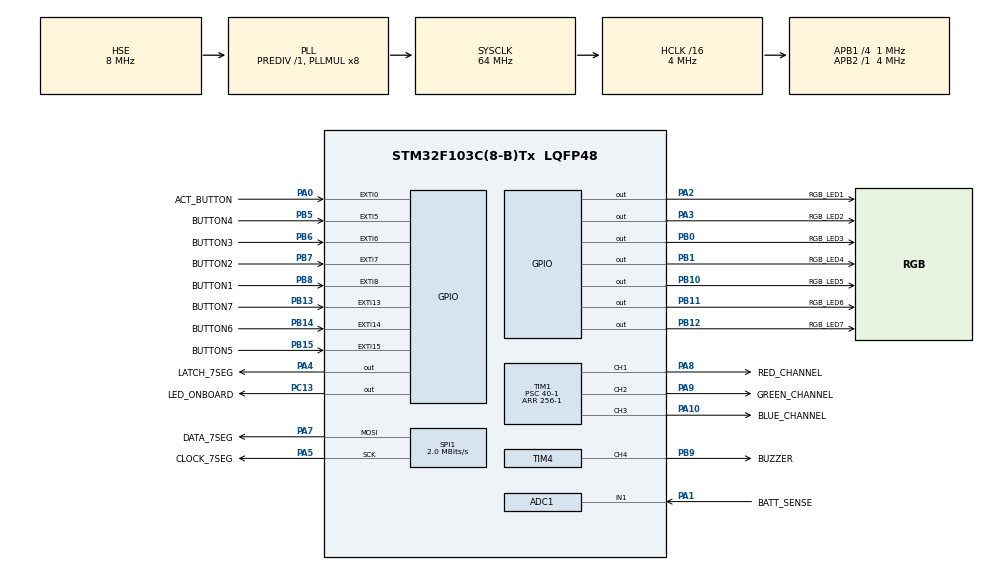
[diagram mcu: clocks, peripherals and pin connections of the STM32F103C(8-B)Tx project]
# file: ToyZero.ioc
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ADC1.Channel-0\#ChannelRegularConversion=ADC_CHANNEL_1
ADC1.NbrOfConversionFlag=1
ADC1.Rank-0\#ChannelRegularConversion=1
ADC1.SamplingTime-0\#ChannelRegularConversion=ADC_SAMPLETIME_239CYCLES_5
ADC1.master=1
Mcu.Family=STM32F1
Mcu.Name=STM32F103C(8-B)Tx
Mcu.Package=LQFP48
NVIC.EXTI0_IRQn=true\:1\:0\:true\:false\:true\:true\:true
NVIC.EXTI15_10_IRQn=true\:2\:0\:true\:false\:true\:true\:true
NVIC.EXTI9_5_IRQn=true\:2\:0\:true\:false\:true\:true\:true
NVIC.PriorityGroup=NVIC_PRIORITYGROUP_4
NVIC.TIM3_IRQn=true\:4\:0\:true\:false\:true\:true\:true
NVIC.TIM4_IRQn=true\:3\:0\:true\:false\:true\:true\:true
PA0-WKUP.GPIO_Label=ACT_BUTTON
PA0-WKUP.GPIO_PuPd=GPIO_PULLUP
PA0-WKUP.Signal=GPXTI0
PA1.GPIO_Label=BATT_SENSE
PA1.Signal=ADCx_IN1
PA10.GPIO_Label=BLUE_CHANNEL
PA10.Signal=S_TIM1_CH3
PA2.GPIO_Label=RGB_LED1
PA2.GPIO_ModeDefaultOutputPP=GPIO_MODE_OUTPUT_OD
PA2.GPIO_PuPd=GPIO_PULLUP
PA2.GPIO_Speed=GPIO_SPEED_FREQ_MEDIUM
PA2.PinState=GPIO_PIN_SET
PA2.Signal=GPIO_Output
PA3.GPIO_Label=RGB_LED2
PA3.GPIO_ModeDefaultOutputPP=GPIO_MODE_OUTPUT_OD
PA3.GPIO_PuPd=GPIO_PULLUP
PA3.GPIO_Speed=GPIO_SPEED_FREQ_MEDIUM
PA3.PinState=GPIO_PIN_SET
PA3.Signal=GPIO_Output
PA4.GPIO_Label=LATCH_7SEG
PA4.GPIO_PuPd=GPIO_PULLUP
PA4.GPIO_Speed=GPIO_SPEED_FREQ_MEDIUM
PA4.PinState=GPIO_PIN_SET
PA4.Signal=GPIO_Output
PA5.GPIO_Label=CLOCK_7SEG
PA5.Mode=TX_Only_Simplex_Unidirect_Master
PA5.Signal=SPI1_SCK
PA7.GPIO_Label=DATA_7SEG
PA7.Mode=TX_Only_Simplex_Unidirect_Master
PA7.Signal=SPI1_MOSI
PA8.GPIO_Label=RED_CHANNEL
PA8.Signal=S_TIM1_CH1
PA9.GPIO_Label=GREEN_CHANNEL
PA9.Signal=S_TIM1_CH2
PB0.GPIO_Label=RGB_LED3
PB0.GPIO_ModeDefaultOutputPP=GPIO_MODE_OUTPUT_OD
PB0.GPIO_PuPd=GPIO_PULLUP
PB0.GPIO_Speed=GPIO_SPEED_FREQ_MEDIUM
PB0.PinState=GPIO_PIN_SET
PB0.Signal=GPIO_Output
PB1.GPIO_Label=RGB_LED4
PB1.GPIO_ModeDefaultOutputPP=GPIO_MODE_OUTPUT_OD
PB1.GPIO_PuPd=GPIO_PULLUP
PB1.GPIO_Speed=GPIO_SPEED_FREQ_MEDIUM
PB1.PinState=GPIO_PIN_SET
PB1.Signal=GPIO_Output
PB10.GPIO_Label=RGB_LED5
PB10.GPIO_ModeDefaultOutputPP=GPIO_MODE_OUTPUT_OD
PB10.GPIO_PuPd=GPIO_PULLUP
PB10.GPIO_Speed=GPIO_SPEED_FREQ_MEDIUM
PB10.PinState=GPIO_PIN_SET
PB10.Signal=GPIO_Output
PB11.GPIO_Label=RGB_LED6
PB11.GPIO_ModeDefaultOutputPP=GPIO_MODE_OUTPUT_OD
PB11.GPIO_PuPd=GPIO_PULLUP
PB11.GPIO_Speed=GPIO_SPEED_FREQ_MEDIUM
PB11.PinState=GPIO_PIN_SET
PB11.Signal=GPIO_Output
PB12.GPIO_Label=RGB_LED7
PB12.GPIO_ModeDefaultOutputPP=GPIO_MODE_OUTPUT_OD
PB12.GPIO_PuPd=GPIO_PULLUP
PB12.GPIO_Speed=GPIO_SPEED_FREQ_MEDIUM
PB12.PinState=GPIO_PIN_SET
PB12.Signal=GPIO_Output
PB13.GPIO_Label=BUTTON7
PB13.GPIO_ModeDefaultEXTI=GPIO_MODE_IT_FALLING
PB13.GPIO_PuPd=GPIO_PULLUP
PB13.Signal=GPXTI13
PB14.GPIO_Label=BUTTON6
PB14.GPIO_ModeDefaultEXTI=GPIO_MODE_IT_FALLING
PB14.GPIO_PuPd=GPIO_PULLUP
PB14.Signal=GPXTI14
PB15.GPIO_Label=BUTTON5
PB15.GPIO_ModeDefaultEXTI=GPIO_MODE_IT_FALLING
PB15.GPIO_PuPd=GPIO_PULLUP
PB15.Signal=GPXTI15
PB5.GPIO_Label=BUTTON4
PB5.GPIO_ModeDefaultEXTI=GPIO_MODE_IT_FALLING
PB5.GPIO_PuPd=GPIO_PULLUP
PB5.Signal=GPXTI5
PB6.GPIO_Label=BUTTON3
PB6.GPIO_ModeDefaultEXTI=GPIO_MODE_IT_FALLING
PB6.GPIO_PuPd=GPIO_PULLUP
PB6.Signal=GPXTI6
PB7.GPIO_Label=BUTTON2
PB7.GPIO_ModeDefaultEXTI=GPIO_MODE_IT_FALLING
PB7.GPIO_PuPd=GPIO_PULLUP
PB7.Signal=GPXTI7
PB8.GPIO_Label=BUTTON1
PB8.GPIO_ModeDefaultEXTI=GPIO_MODE_IT_FALLING
PB8.GPIO_PuPd=GPIO_PULLUP
PB8.Signal=GPXTI8
PB9.GPIO_Label=BUZZER
PB9.Signal=S_TIM4_CH4
PC13-TAMPER-RTC.GPIO_Label=LED_ONBOARD
PC13-TAMPER-RTC.GPIO_ModeDefaultOutputPP=GPIO_MODE_OUTPUT_OD
PC13-TAMPER-RTC.PinState=GPIO_PIN_RESET
PC13-TAMPER-RTC.Signal=GPIO_Output
PD0-OSC_IN.Mode=HSE-External-Oscillator
PD0-OSC_IN.Signal=RCC_OSC_IN
PD1-OSC_OUT.Mode=HSE-External-Oscillator
PD1-OSC_OUT.Signal=RCC_OSC_OUT
ProjectManager.HeapSize=0x200
ProjectManager.StackSize=0x400
ProjectManager.TargetToolchain=Makefile
RCC.ADCPresc=RCC_ADCPCLK2_DIV8
RCC.AHBCLKDivider=RCC_SYSCLK_DIV16
RCC.AHBFreq_Value=4000000
RCC.APB1CLKDivider=RCC_HCLK_DIV4
RCC.APB1Freq_Value=1000000
RCC.APB1TimFreq_Value=2000000
RCC.APB2Freq_Value=4000000
RCC.APB2TimFreq_Value=4000000
RCC.HCLKFreq_Value=4000000
RCC.PLLMUL=RCC_PLL_MUL8
RCC.PLLSourceVirtual=RCC_PLLSOURCE_HSE
RCC.RTCClockSelection=RCC_RTCCLKSOURCE_LSE
RCC.SYSCLKFreq_VALUE=64000000
RCC.SYSCLKSource=RCC_SYSCLKSOURCE_PLLCLK
RCC.USBFreq_Value=64000000
SH.ADCx_IN1.0=ADC1_IN1,IN1
SH.S_TIM1_CH1.0=TIM1_CH1,PWM Generation1 CH1
SH.S_TIM1_CH2.0=TIM1_CH2,PWM Generation2 CH2
SH.S_TIM1_CH3.0=TIM1_CH3,PWM Generation3 CH3
SH.S_TIM4_CH4.0=TIM4_CH4,Output Compare4 CH4
SPI1.BaudRatePrescaler=SPI_BAUDRATEPRESCALER_2
SPI1.CalculateBaudRate=2.0 MBits/s
SPI1.Direction=SPI_DIRECTION_2LINES
SPI1.Mode=SPI_MODE_MASTER
SPI1.VirtualType=VM_MASTER
TIM1.Channel-PWM\ Generation1\ CH1=TIM_CHANNEL_1
TIM1.Channel-PWM\ Generation2\ CH2=TIM_CHANNEL_2
TIM1.Channel-PWM\ Generation3\ CH3=TIM_CHANNEL_3
TIM1.OCMode_PWM-PWM\ Generation1\ CH1=TIM_OCMODE_PWM1
TIM1.Period=256-1
TIM1.Prescaler=40-1
TIM1.Pulse-PWM\ Generation1\ CH1=1-1
TIM1.Pulse-PWM\ Generation2\ CH2=1-1
TIM1.Pulse-PWM\ Generation3\ CH3=1-1
TIM3.Channel-Output\ Compare3\ No\ Output=TIM_CHANNEL_3
TIM3.ClockDivision=TIM_CLOCKDIVISION_DIV4
TIM3.Period=65536-1
TIM3.Pulse-Output\ Compare3\ No\ Output=4000
TIM4.Channel-Output\ Compare4\ CH4=TIM_CHANNEL_4
TIM4.OCMode_4=TIM_OCMODE_TOGGLE
TIM4.Period=65536-1
TIM4.Prescaler=2-1
TIM4.Pulse-Output\ Compare4\ CH4=1136
VP_SYS_VS_ND.Mode=No_Debug
VP_TIM1_VS_ClockSourceINT.Mode=Internal
VP_TIM3_VS_ClockSourceINT.Mode=Internal
VP_TIM3_VS_no_output3.Mode=Output Compare3 No Output
VP_TIM4_VS_ClockSourceINT.Mode=Internal
board=custom

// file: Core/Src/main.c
/* USER CODE BEGIN Header */
/**
  ******************************************************************************
  * @file           : main.c
  * @brief          : Main program body
  ******************************************************************************
  * @attention
  *
  * <h2><center>&copy; Copyright (c) 2019 STMicroelectronics.
  * All rights reserved.</center></h2>
  *
  * This software component is licensed by ST under BSD 3-Clause license,
  * the "License"; You may not use this file except in compliance with the
  * License. You may obtain a copy of the License at:
  *                        opensource.org/licenses/BSD-3-Clause
  *
  ******************************************************************************
  */
/* USER CODE END Header */

#include "main.h"

/* USER CODE BEGIN Includes */
#include "music_player.h"
#include "leds_driver.h"
#include "sevenseg_driver.h"
#include "analog_module.h"
/* USER CODE END Includes */

/* USER CODE BEGIN PTD */
typedef enum game_state {
  TEST_MODE = 0,
  START_GAME,
  PLAYING,
  GAME_OVER,
  MUSIC
} game_state_t;

typedef enum game_level {
  EASY = 0,
  NORMAL,
  HARD
} game_level_t;
/* USER CODE END PTD */

ADC_HandleTypeDef hadc1;

SPI_HandleTypeDef hspi1;

TIM_HandleTypeDef htim1;
TIM_HandleTypeDef htim3;
TIM_HandleTypeDef htim4;

/* USER CODE BEGIN PV */
volatile game_state_t g_state = TEST_MODE;
volatile int g_newStateUpdate = 0;
volatile game_level_t g_level = EASY;
volatile int g_buttonRecord[] = { 0, 0, 0, 0, 0, 0, 0 };
volatile int g_newRecordUpdate = 0;
volatile int g_expectedIndexBuffer[32] = { 0 };
volatile note_t g_playbackNodeBuffer[32] = { 0 };
volatile uint32_t g_currentScore = 0;
volatile uint32_t g_lastHighestScore = 0;
char g_force_stop = 0;
song_t g_target_music = SUPER_MARIO;
/* USER CODE END PV */

void SystemClock_Config(void);
static void MX_GPIO_Init(void);
static void MX_TIM1_Init(void);
static void MX_TIM4_Init(void);
static void MX_ADC1_Init(void);
static void MX_SPI1_Init(void);
static void MX_TIM3_Init(void);

/* USER CODE BEGIN 0 */
void setGameState(game_state_t state) {
  game_state_t old_state = g_state;
  g_state = state;
  g_newStateUpdate = (old_state != g_state) ? (1) : (0);
}
void blinkLedOnBoard()
{
    HAL_GPIO_WritePin(GPIOC, GPIO_PIN_13, GPIO_PIN_RESET);
    HAL_Delay(1);
    HAL_GPIO_WritePin(GPIOC, GPIO_PIN_13, GPIO_PIN_SET);
    HAL_Delay(999);
}
void _disableAllInputButtons(void) {
  HAL_NVIC_DisableIRQ(EXTI9_5_IRQn);
  HAL_NVIC_DisableIRQ(EXTI15_10_IRQn);
}
void _enableAllInputButtons(void) {
  __HAL_GPIO_EXTI_CLEAR_IT(BUTTON1_Pin);
  __HAL_GPIO_EXTI_CLEAR_IT(BUTTON2_Pin);
  __HAL_GPIO_EXTI_CLEAR_IT(BUTTON3_Pin);
  __HAL_GPIO_EXTI_CLEAR_IT(BUTTON4_Pin);
  __HAL_GPIO_EXTI_CLEAR_IT(BUTTON5_Pin);
  __HAL_GPIO_EXTI_CLEAR_IT(BUTTON6_Pin);
  __HAL_GPIO_EXTI_CLEAR_IT(BUTTON7_Pin);
  HAL_NVIC_EnableIRQ(EXTI9_5_IRQn);
  HAL_NVIC_EnableIRQ(EXTI15_10_IRQn);
}
void renderBatteryPercentage(void) {
  _disableAllInputButtons();
  uint32_t battPercent = getBatteryPercentage();
  setDisplayNumber(battPercent);
  if (battPercent > 57) {  /* Battery High - GREEN */
    set_rgb(0, 50, 0);
    for (int i = 0; i < 2; i++) {
      turn_on_all_leds();
      HAL_Delay(500);
      turn_off_all_leds();
      HAL_Delay(500);
    }
  } else if (battPercent > 28) {
    set_rgb(50, 50, 0); /* Battery Medium - YELLOW */
    for (int i = 0; i < 4; i++) {
      turn_led_on(led1);
      turn_led_on(led2);
      turn_led_on(led3);
      turn_led_on(led4);
      HAL_Delay(200);
      turn_led_off(led1);
      turn_led_off(led2);
      turn_led_off(led3);
      turn_led_off(led4);
      HAL_Delay(200);
    }
  } else {
    set_rgb(50, 0, 0); /* Battery Low - RED */
    for (int i = 0; i < 10; i++) {
      turn_led_on(led1);
      turn_led_on(led2);
      HAL_Delay(100);
      turn_led_off(led1);
      turn_led_off(led2);
      HAL_Delay(100);
    }
  }
  turnOffDisplay();
}
void _test_all_in_one (led_rgb_t led, note_t note, unsigned int duration_ticks,
  unsigned char no_sound, uint32_t display_value) {
  set_rgb_color_base_on_led(led);
  setDisplayNumber(display_value);
  turn_led_on(led);
  if (no_sound) {
    HAL_Delay(200); /* BPM 150 */
  } else {
    play(note, duration_ticks);
  }
  turn_led_off(led);
}
void runningTestMode(void) {
  uint32_t duration_ticks = 1;
  unsigned char no_sound = 0;
  setDisplayNumber(0);
  turnOnDisplay();
  set_bpm(150);

  /* Up */
  _test_all_in_one(led1, C4, duration_ticks, no_sound, 1);
  _test_all_in_one(led2, D4, duration_ticks, no_sound, 2);
  _test_all_in_one(led3, E4, duration_ticks, no_sound, 3);
  _test_all_in_one(led4, F4, duration_ticks, no_sound, 4);
  _test_all_in_one(led5, G4, duration_ticks, no_sound, 5);
  _test_all_in_one(led6, A4, duration_ticks, no_sound, 6);
  _test_all_in_one(led7, B4, duration_ticks, no_sound, 7);
  /* Down */
  _test_all_in_one(led6, A4, duration_ticks, no_sound, 6);
  _test_all_in_one(led5, G4, duration_ticks, no_sound, 5);
  _test_all_in_one(led4, F4, duration_ticks, no_sound, 4);
  _test_all_in_one(led3, E4, duration_ticks, no_sound, 3);
  _test_all_in_one(led2, D4, duration_ticks, no_sound, 2);
  _test_all_in_one(led1, C4, duration_ticks, no_sound, 1);

  setDisplayIdle();
  turn_on_all_leds();
  _enableAllInputButtons();
  g_newStateUpdate = 0;
  while (!g_newStateUpdate) {
    for (int k = 0; (g_newStateUpdate == 0) && (k < 360); k++)
    {
      set_rgb_sineLED(k);
      HAL_Delay(30);
    }
  }

  /* Clean up */
  _disableAllInputButtons();
  g_newStateUpdate = 0;
  turn_off_all_leds();
  turnOffDisplay();
}
void runningStartingState(void) {
  turnOnDisplay();
  setDisplayNumber(g_lastHighestScore);
  beep();
  _enableAllInputButtons();

  while (!g_newStateUpdate) {
    /* EASY */
    set_rgb(255, 50, 0);
    turn_led_on(led2);
    HAL_Delay(5);
    turn_off_all_leds();

    /* NORMAl */
    set_rgb(0, 150, 150);
    turn_led_on(led4);
    HAL_Delay(5);
    turn_off_all_leds();

    /* HARD */
    set_rgb(152, 0, 152);
    turn_led_on(led6);
    HAL_Delay(5);
    turn_off_all_leds();
  }

  /* Clean up */
  _disableAllInputButtons();
  g_newStateUpdate = 0;
  turn_off_all_leds();
  turnOffDisplay();
}
void _clearButtonRecord(void) {
  for (int i = 0; i < 7; i++) {
    g_buttonRecord[i] = 0;
  }
}
void runningPlayState (void) {
  signed int remainLive = 0;
  int measure_length = 0;
  measure_t* measures_list = NULL;
  unsigned int current_bpm = 100;

  /* Preparing level */
  _disableAllInputButtons();
  _clearButtonRecord();
  switch (g_level) {
    case EASY:
      setDisplayText(DIGIT_E, DIGIT_DASH, DIGIT_NONE, DIGIT_NONE);
      remainLive = 0;
      current_bpm = 60;
      audio_transition_starting_to_easy();
      measures_list = get_sevenHabits_measures_list(&measure_length);
    break;

    case NORMAL:
      setDisplayText(DIGIT_N, DIGIT_DASH, DIGIT_DASH, DIGIT_NONE);
      remainLive = 0;
      current_bpm = 70;
      audio_transition_starting_to_normal();
      measures_list = get_apple_measures_list(&measure_length);
    break;

    case HARD:
      setDisplayText(DIGIT_H, DIGIT_DASH, DIGIT_DASH, DIGIT_DASH);
      remainLive = 0;
      current_bpm = 120;
      audio_transition_starting_to_hard();
      measures_list = get_mario_measures_list(&measure_length);
    break;

    default:
    break;
  }

  g_currentScore = 0;
  turnOnDisplay();

  while (!g_newStateUpdate) {
    HAL_Delay(500);
    set_bpm(current_bpm);

    uint32_t expectedPointer = 0;
    g_newRecordUpdate = 0;
    for (int i = 0; (i < measure_length) && (remainLive >= 0); i++) {
      expectedPointer = 0;
      turnOffDisplay();
      _disableAllInputButtons();
      for (int j = 0; j < measures_list[i].length; j += 2) { /* maximum lenght is 32 */
        if (measures_list[i].data[j] != REST) {
          g_expectedIndexBuffer[expectedPointer] = get_button_index_from_node(measures_list[i].data[j]);
          g_playbackNodeBuffer[expectedPointer] = measures_list[i].data[j];
          ++expectedPointer;
        }
        play_with_led(measures_list[i].data[j], measures_list[i].data[j + 1]);
      }
      _enableAllInputButtons();

      for (int j = 0; (j < expectedPointer) && (remainLive >= 0); j++) {
        g_newRecordUpdate = 0;
        _clearButtonRecord();
        setDisplayNumber(g_currentScore);
        //_enableAllInputButtons();
        turnOnDisplay();
        while (!g_newRecordUpdate);
        //_disableAllInputButtons();
        g_newRecordUpdate = 0;

        if (g_buttonRecord[g_expectedIndexBuffer[j]] == 1) {
          setDisplayNumber(++g_currentScore);
          g_lastHighestScore = (g_currentScore > g_lastHighestScore) ? (g_currentScore) : (g_lastHighestScore);
          play_with_led(g_playbackNodeBuffer[j], 1);
          _clearButtonRecord();
        } else {
          --remainLive;
          if (remainLive < 0) {
            _disableAllInputButtons();
            setGameState(GAME_OVER);
          }
        }
      }
      HAL_Delay(250);
    }
    /* WINNING */
    current_bpm += 30;
  }

  /* Clean up */
  g_newStateUpdate = 0;
  turnOffDisplay();
}
void runningGameOverState (void) {
  audio_transition_gameover();
  g_lastHighestScore = (g_currentScore > g_lastHighestScore) ? (g_currentScore) : (g_lastHighestScore);
  setDisplayNumber(g_currentScore);
  _enableAllInputButtons();
  /* Blinking current score */
  int delay = 0;
  int smallDelay = 100;
  unsigned char indensity = 50;
  while (!g_newStateUpdate) {
    turnOnDisplay();
    //HAL_Delay(500);
    delay = 500;
    while (delay > 0 && !g_newStateUpdate) {
      set_rgb(0,         0,         indensity); turn_led_on(led3); HAL_Delay(smallDelay); turn_off_all_leds();
      set_rgb(0,         indensity, indensity); turn_led_on(led4); HAL_Delay(smallDelay); turn_off_all_leds();
      set_rgb(0,         indensity, 0);         turn_led_on(led5); HAL_Delay(smallDelay); turn_off_all_leds();
      set_rgb(indensity, indensity, 0);         turn_led_on(led6); HAL_Delay(smallDelay); turn_off_all_leds();
      set_rgb(indensity, 0,         0);         turn_led_on(led7); HAL_Delay(smallDelay); turn_off_all_leds();
      delay -= (smallDelay * 5);
    }

    turnOffDisplay();
    //HAL_Delay(500);
    delay = 500;
    while (delay > 0 && !g_newStateUpdate) {
      set_rgb(indensity, 0,         0);         turn_led_on(led7); HAL_Delay(smallDelay); turn_off_all_leds();
      set_rgb(indensity, indensity, 0);         turn_led_on(led6); HAL_Delay(smallDelay); turn_off_all_leds();
      set_rgb(0,         indensity, 0);         turn_led_on(led5); HAL_Delay(smallDelay); turn_off_all_leds();
      set_rgb(0,         indensity, indensity); turn_led_on(led4); HAL_Delay(smallDelay); turn_off_all_leds();
      set_rgb(0,         0,         indensity); turn_led_on(led3); HAL_Delay(smallDelay); turn_off_all_leds();
      delay -= (smallDelay * 5);
    }
  }

  /* Clean up */
  g_newStateUpdate = 0;
  turnOffDisplay();
}

/* USER CODE END 0 */

int main(void)
{

  /* MCU Configuration--------------------------------------------------------*/

  /* Reset of all peripherals, Initializes the Flash interface and the Systick. */
  HAL_Init();

  /* Configure the system clock */
  SystemClock_Config();

  /* Initialize all configured peripherals */
  MX_GPIO_Init();
  MX_TIM1_Init();
  MX_TIM4_Init();
  MX_ADC1_Init();
  MX_SPI1_Init();
  MX_TIM3_Init();
  /* USER CODE BEGIN 2 */
  blinkLedOnBoard(); /* For battery power stable */
  init_rgb_driver();
  turnOnDisplay();
  setDisplayIdle();
  renderBatteryPercentage();
  g_state = TEST_MODE;

  /* USER CODE END 2 */

  /* Infinite loop */
  while (1)
  {

    /* USER CODE BEGIN 3 */
    switch (g_state) {
      case TEST_MODE:
        runningTestMode();
      break;

      case START_GAME:
        runningStartingState();
      break;

      case PLAYING:
        runningPlayState();
      break;

      case GAME_OVER:
        runningGameOverState();
      break;

      case MUSIC:
        g_force_stop = 0;
        play_song(g_target_music, &g_force_stop);
        g_state = START_GAME;
      break;

      default:
        blinkLedOnBoard();
      break;
    }
  }
  /* USER CODE END 3 */
}

void SystemClock_Config(void)
{
  RCC_OscInitTypeDef RCC_OscInitStruct = {0};
  RCC_ClkInitTypeDef RCC_ClkInitStruct = {0};
  RCC_PeriphCLKInitTypeDef PeriphClkInit = {0};

  /** Initializes the CPU, AHB and APB busses clocks
  */
  RCC_OscInitStruct.OscillatorType = RCC_OSCILLATORTYPE_HSE;
  RCC_OscInitStruct.HSEState = RCC_HSE_ON;
  RCC_OscInitStruct.HSEPredivValue = RCC_HSE_PREDIV_DIV1;
  RCC_OscInitStruct.HSIState = RCC_HSI_ON;
  RCC_OscInitStruct.PLL.PLLState = RCC_PLL_ON;
  RCC_OscInitStruct.PLL.PLLSource = RCC_PLLSOURCE_HSE;
  RCC_OscInitStruct.PLL.PLLMUL = RCC_PLL_MUL8;
  if (HAL_RCC_OscConfig(&RCC_OscInitStruct) != HAL_OK)
  {
    Error_Handler();
  }
  /** Initializes the CPU, AHB and APB busses clocks
  */
  RCC_ClkInitStruct.ClockType = RCC_CLOCKTYPE_HCLK|RCC_CLOCKTYPE_SYSCLK
                              |RCC_CLOCKTYPE_PCLK1|RCC_CLOCKTYPE_PCLK2;
  RCC_ClkInitStruct.SYSCLKSource = RCC_SYSCLKSOURCE_PLLCLK;
  RCC_ClkInitStruct.AHBCLKDivider = RCC_SYSCLK_DIV16;
  RCC_ClkInitStruct.APB1CLKDivider = RCC_HCLK_DIV4;
  RCC_ClkInitStruct.APB2CLKDivider = RCC_HCLK_DIV1;

  if (HAL_RCC_ClockConfig(&RCC_ClkInitStruct, FLASH_LATENCY_2) != HAL_OK)
  {
    Error_Handler();
  }
  PeriphClkInit.PeriphClockSelection = RCC_PERIPHCLK_ADC;
  PeriphClkInit.AdcClockSelection = RCC_ADCPCLK2_DIV8;
  if (HAL_RCCEx_PeriphCLKConfig(&PeriphClkInit) != HAL_OK)
  {
    Error_Handler();
  }
}

static void MX_ADC1_Init(void)
{

  ADC_ChannelConfTypeDef sConfig = {0};

  /** Common config
  */
  hadc1.Instance = ADC1;
  hadc1.Init.ScanConvMode = ADC_SCAN_DISABLE;
  hadc1.Init.ContinuousConvMode = DISABLE;
  hadc1.Init.DiscontinuousConvMode = DISABLE;
  hadc1.Init.ExternalTrigConv = ADC_SOFTWARE_START;
  hadc1.Init.DataAlign = ADC_DATAALIGN_RIGHT;
  hadc1.Init.NbrOfConversion = 1;
  if (HAL_ADC_Init(&hadc1) != HAL_OK)
  {
    Error_Handler();
  }
  /** Configure Regular Channel
  */
  sConfig.Channel = ADC_CHANNEL_1;
  sConfig.Rank = ADC_REGULAR_RANK_1;
  sConfig.SamplingTime = ADC_SAMPLETIME_239CYCLES_5;
  if (HAL_ADC_ConfigChannel(&hadc1, &sConfig) != HAL_OK)
  {
    Error_Handler();
  }

}

static void MX_SPI1_Init(void)
{

  /* SPI1 parameter configuration*/
  hspi1.Instance = SPI1;
  hspi1.Init.Mode = SPI_MODE_MASTER;
  hspi1.Init.Direction = SPI_DIRECTION_2LINES;
  hspi1.Init.DataSize = SPI_DATASIZE_8BIT;
  hspi1.Init.CLKPolarity = SPI_POLARITY_LOW;
  hspi1.Init.CLKPhase = SPI_PHASE_1EDGE;
  hspi1.Init.NSS = SPI_NSS_SOFT;
  hspi1.Init.BaudRatePrescaler = SPI_BAUDRATEPRESCALER_2;
  hspi1.Init.FirstBit = SPI_FIRSTBIT_MSB;
  hspi1.Init.TIMode = SPI_TIMODE_DISABLE;
  hspi1.Init.CRCCalculation = SPI_CRCCALCULATION_DISABLE;
  hspi1.Init.CRCPolynomial = 10;
  if (HAL_SPI_Init(&hspi1) != HAL_OK)
  {
    Error_Handler();
  }

}

static void MX_TIM1_Init(void)
{

  TIM_ClockConfigTypeDef sClockSourceConfig = {0};
  TIM_MasterConfigTypeDef sMasterConfig = {0};
  TIM_OC_InitTypeDef sConfigOC = {0};
  TIM_BreakDeadTimeConfigTypeDef sBreakDeadTimeConfig = {0};

  htim1.Instance = TIM1;
  htim1.Init.Prescaler = 40-1;
  htim1.Init.CounterMode = TIM_COUNTERMODE_UP;
  htim1.Init.Period = 256-1;
  htim1.Init.ClockDivision = TIM_CLOCKDIVISION_DIV1;
  htim1.Init.RepetitionCounter = 0;
  htim1.Init.AutoReloadPreload = TIM_AUTORELOAD_PRELOAD_DISABLE;
  if (HAL_TIM_Base_Init(&htim1) != HAL_OK)
  {
    Error_Handler();
  }
  sClockSourceConfig.ClockSource = TIM_CLOCKSOURCE_INTERNAL;
  if (HAL_TIM_ConfigClockSource(&htim1, &sClockSourceConfig) != HAL_OK)
  {
    Error_Handler();
  }
  if (HAL_TIM_PWM_Init(&htim1) != HAL_OK)
  {
    Error_Handler();
  }
  sMasterConfig.MasterOutputTrigger = TIM_TRGO_RESET;
  sMasterConfig.MasterSlaveMode = TIM_MASTERSLAVEMODE_DISABLE;
  if (HAL_TIMEx_MasterConfigSynchronization(&htim1, &sMasterConfig) != HAL_OK)
  {
    Error_Handler();
  }
  sConfigOC.OCMode = TIM_OCMODE_PWM1;
  sConfigOC.Pulse = 1-1;
  sConfigOC.OCPolarity = TIM_OCPOLARITY_HIGH;
  sConfigOC.OCNPolarity = TIM_OCNPOLARITY_HIGH;
  sConfigOC.OCFastMode = TIM_OCFAST_DISABLE;
  sConfigOC.OCIdleState = TIM_OCIDLESTATE_RESET;
  sConfigOC.OCNIdleState = TIM_OCNIDLESTATE_RESET;
  if (HAL_TIM_PWM_ConfigChannel(&htim1, &sConfigOC, TIM_CHANNEL_1) != HAL_OK)
  {
    Error_Handler();
  }
  if (HAL_TIM_PWM_ConfigChannel(&htim1, &sConfigOC, TIM_CHANNEL_2) != HAL_OK)
  {
    Error_Handler();
  }
  if (HAL_TIM_PWM_ConfigChannel(&htim1, &sConfigOC, TIM_CHANNEL_3) != HAL_OK)
  {
    Error_Handler();
  }
  sBreakDeadTimeConfig.OffStateRunMode = TIM_OSSR_DISABLE;
  sBreakDeadTimeConfig.OffStateIDLEMode = TIM_OSSI_DISABLE;
  sBreakDeadTimeConfig.LockLevel = TIM_LOCKLEVEL_OFF;
  sBreakDeadTimeConfig.DeadTime = 0;
  sBreakDeadTimeConfig.BreakState = TIM_BREAK_DISABLE;
  sBreakDeadTimeConfig.BreakPolarity = TIM_BREAKPOLARITY_HIGH;
  sBreakDeadTimeConfig.AutomaticOutput = TIM_AUTOMATICOUTPUT_DISABLE;
  if (HAL_TIMEx_ConfigBreakDeadTime(&htim1, &sBreakDeadTimeConfig) != HAL_OK)
  {
    Error_Handler();
  }
  HAL_TIM_MspPostInit(&htim1);

}

static void MX_TIM3_Init(void)
{

  TIM_ClockConfigTypeDef sClockSourceConfig = {0};
  TIM_MasterConfigTypeDef sMasterConfig = {0};
  TIM_OC_InitTypeDef sConfigOC = {0};

  htim3.Instance = TIM3;
  htim3.Init.Prescaler = 0;
  htim3.Init.CounterMode = TIM_COUNTERMODE_UP;
  htim3.Init.Period = 65536-1;
  htim3.Init.ClockDivision = TIM_CLOCKDIVISION_DIV4;
  htim3.Init.AutoReloadPreload = TIM_AUTORELOAD_PRELOAD_DISABLE;
  if (HAL_TIM_Base_Init(&htim3) != HAL_OK)
  {
    Error_Handler();
  }
  sClockSourceConfig.ClockSource = TIM_CLOCKSOURCE_INTERNAL;
  if (HAL_TIM_ConfigClockSource(&htim3, &sClockSourceConfig) != HAL_OK)
  {
    Error_Handler();
  }
  if (HAL_TIM_OC_Init(&htim3) != HAL_OK)
  {
    Error_Handler();
  }
  sMasterConfig.MasterOutputTrigger = TIM_TRGO_RESET;
  sMasterConfig.MasterSlaveMode = TIM_MASTERSLAVEMODE_DISABLE;
  if (HAL_TIMEx_MasterConfigSynchronization(&htim3, &sMasterConfig) != HAL_OK)
  {
    Error_Handler();
  }
  sConfigOC.OCMode = TIM_OCMODE_TIMING;
  sConfigOC.Pulse = 4000;
  sConfigOC.OCPolarity = TIM_OCPOLARITY_HIGH;
  sConfigOC.OCFastMode = TIM_OCFAST_DISABLE;
  if (HAL_TIM_OC_ConfigChannel(&htim3, &sConfigOC, TIM_CHANNEL_3) != HAL_OK)
  {
    Error_Handler();
  }

}

static void MX_TIM4_Init(void)
{

  TIM_ClockConfigTypeDef sClockSourceConfig = {0};
  TIM_MasterConfigTypeDef sMasterConfig = {0};
  TIM_OC_InitTypeDef sConfigOC = {0};

  htim4.Instance = TIM4;
  htim4.Init.Prescaler = 2-1;
  htim4.Init.CounterMode = TIM_COUNTERMODE_UP;
  htim4.Init.Period = 65536-1;
  htim4.Init.ClockDivision = TIM_CLOCKDIVISION_DIV1;
  htim4.Init.AutoReloadPreload = TIM_AUTORELOAD_PRELOAD_DISABLE;
  if (HAL_TIM_Base_Init(&htim4) != HAL_OK)
  {
    Error_Handler();
  }
  sClockSourceConfig.ClockSource = TIM_CLOCKSOURCE_INTERNAL;
  if (HAL_TIM_ConfigClockSource(&htim4, &sClockSourceConfig) != HAL_OK)
  {
    Error_Handler();
  }
  if (HAL_TIM_OC_Init(&htim4) != HAL_OK)
  {
    Error_Handler();
  }
  sMasterConfig.MasterOutputTrigger = TIM_TRGO_RESET;
  sMasterConfig.MasterSlaveMode = TIM_MASTERSLAVEMODE_DISABLE;
  if (HAL_TIMEx_MasterConfigSynchronization(&htim4, &sMasterConfig) != HAL_OK)
  {
    Error_Handler();
  }
  sConfigOC.OCMode = TIM_OCMODE_TOGGLE;
  sConfigOC.Pulse = 1136;
  sConfigOC.OCPolarity = TIM_OCPOLARITY_HIGH;
  sConfigOC.OCFastMode = TIM_OCFAST_DISABLE;
  if (HAL_TIM_OC_ConfigChannel(&htim4, &sConfigOC, TIM_CHANNEL_4) != HAL_OK)
  {
    Error_Handler();
  }
  HAL_TIM_MspPostInit(&htim4);

}

static void MX_GPIO_Init(void)
{
  GPIO_InitTypeDef GPIO_InitStruct = {0};

  /* GPIO Ports Clock Enable */
  __HAL_RCC_GPIOC_CLK_ENABLE();
  __HAL_RCC_GPIOD_CLK_ENABLE();
  __HAL_RCC_GPIOA_CLK_ENABLE();
  __HAL_RCC_GPIOB_CLK_ENABLE();

  /*Configure GPIO pin Output Level */
  HAL_GPIO_WritePin(LED_ONBOARD_GPIO_Port, LED_ONBOARD_Pin, GPIO_PIN_RESET);

  /*Configure GPIO pin Output Level */
  HAL_GPIO_WritePin(GPIOA, RGB_LED1_Pin|RGB_LED2_Pin|LATCH_7SEG_Pin, GPIO_PIN_SET);

  /*Configure GPIO pin Output Level */
  HAL_GPIO_WritePin(GPIOB, RGB_LED3_Pin|RGB_LED4_Pin|RGB_LED5_Pin|RGB_LED6_Pin
                          |RGB_LED7_Pin, GPIO_PIN_SET);

  /*Configure GPIO pin : LED_ONBOARD_Pin */
  GPIO_InitStruct.Pin = LED_ONBOARD_Pin;
  GPIO_InitStruct.Mode = GPIO_MODE_OUTPUT_OD;
  GPIO_InitStruct.Pull = GPIO_NOPULL;
  GPIO_InitStruct.Speed = GPIO_SPEED_FREQ_LOW;
  HAL_GPIO_Init(LED_ONBOARD_GPIO_Port, &GPIO_InitStruct);

  /*Configure GPIO pin : ACT_BUTTON_Pin */
  GPIO_InitStruct.Pin = ACT_BUTTON_Pin;
  GPIO_InitStruct.Mode = GPIO_MODE_IT_RISING;
  GPIO_InitStruct.Pull = GPIO_PULLUP;
  HAL_GPIO_Init(ACT_BUTTON_GPIO_Port, &GPIO_InitStruct);

  /*Configure GPIO pins : RGB_LED1_Pin RGB_LED2_Pin */
  GPIO_InitStruct.Pin = RGB_LED1_Pin|RGB_LED2_Pin;
  GPIO_InitStruct.Mode = GPIO_MODE_OUTPUT_OD;
  GPIO_InitStruct.Pull = GPIO_PULLUP;
  GPIO_InitStruct.Speed = GPIO_SPEED_FREQ_MEDIUM;
  HAL_GPIO_Init(GPIOA, &GPIO_InitStruct);

  /*Configure GPIO pin : LATCH_7SEG_Pin */
  GPIO_InitStruct.Pin = LATCH_7SEG_Pin;
  GPIO_InitStruct.Mode = GPIO_MODE_OUTPUT_PP;
  GPIO_InitStruct.Pull = GPIO_PULLUP;
  GPIO_InitStruct.Speed = GPIO_SPEED_FREQ_MEDIUM;
  HAL_GPIO_Init(LATCH_7SEG_GPIO_Port, &GPIO_InitStruct);

  /*Configure GPIO pins : RGB_LED3_Pin RGB_LED4_Pin RGB_LED5_Pin RGB_LED6_Pin
                           RGB_LED7_Pin */
  GPIO_InitStruct.Pin = RGB_LED3_Pin|RGB_LED4_Pin|RGB_LED5_Pin|RGB_LED6_Pin
                          |RGB_LED7_Pin;
  GPIO_InitStruct.Mode = GPIO_MODE_OUTPUT_OD;
  GPIO_InitStruct.Pull = GPIO_PULLUP;
  GPIO_InitStruct.Speed = GPIO_SPEED_FREQ_MEDIUM;
  HAL_GPIO_Init(GPIOB, &GPIO_InitStruct);

  /*Configure GPIO pins : BUTTON7_Pin BUTTON6_Pin BUTTON5_Pin BUTTON4_Pin
                           BUTTON3_Pin BUTTON2_Pin BUTTON1_Pin */
  GPIO_InitStruct.Pin = BUTTON7_Pin|BUTTON6_Pin|BUTTON5_Pin|BUTTON4_Pin
                          |BUTTON3_Pin|BUTTON2_Pin|BUTTON1_Pin;
  GPIO_InitStruct.Mode = GPIO_MODE_IT_FALLING;
  GPIO_InitStruct.Pull = GPIO_PULLUP;
  HAL_GPIO_Init(GPIOB, &GPIO_InitStruct);

  /* EXTI interrupt init*/
  HAL_NVIC_SetPriority(EXTI0_IRQn, 1, 0);
  HAL_NVIC_EnableIRQ(EXTI0_IRQn);

  HAL_NVIC_SetPriority(EXTI9_5_IRQn, 4, 0);
  HAL_NVIC_EnableIRQ(EXTI9_5_IRQn);

  HAL_NVIC_SetPriority(EXTI15_10_IRQn, 4, 0);
  HAL_NVIC_EnableIRQ(EXTI15_10_IRQn);

}

/* USER CODE BEGIN 4 */
/**
  * @brief  Output Compare callback in non-blocking mode
  * @param  htim TIM OC handle
  * @retval None
  */
void HAL_TIM_OC_DelayElapsedCallback(TIM_HandleTypeDef *htim)
{
  if (TIM4 == htim->Instance) {
    htim4.Instance->CCR4 += current_note;
  } else if (TIM3 == htim->Instance) {
    htim3.Instance->CCR3 += 8000; /* TODO: 4ms */
    performSevenSegOneStepScan();
  }
}

/**
  * @brief  EXTI line detection callbacks.
  * @param  GPIO_Pin: Specifies the pins connected EXTI line
  * @retval None
  */
void HAL_GPIO_EXTI_Callback(uint16_t GPIO_Pin)
{
  switch  (GPIO_Pin) {
    case ACT_BUTTON_Pin:
      switch (g_state) {
        case PLAYING:
          g_newRecordUpdate = 1; /* Break while loop */
          setGameState(START_GAME);
          break;
        case TEST_MODE:
        case START_GAME:
          setGameState(START_GAME);
          break;
        case GAME_OVER:
          setGameState(START_GAME);
        default:
        case MUSIC:
          g_force_stop = 1;
        break;
      }
    break;

    case BUTTON1_Pin:
      switch (g_state) {
        case PLAYING: g_buttonRecord[0] = 1; g_newRecordUpdate = 1; break;
        case GAME_OVER: break;
        default: setDisplayNumber(1); audio_button_1(); break;
      }
    break;
    case BUTTON2_Pin:
      switch (g_state) {
        case START_GAME: g_level = EASY; setGameState(PLAYING); break;
        case PLAYING: g_buttonRecord[1] = 1; g_newRecordUpdate = 1; break;
        case GAME_OVER: break;
        default: setDisplayNumber(2); audio_button_2(); break;
      }
    break;
    case BUTTON3_Pin:
      switch (g_state) {
        case PLAYING: g_buttonRecord[2] = 1; g_newRecordUpdate = 1; break;
        case GAME_OVER: g_target_music = NU_CUOI_XINH; audio_button_3(); setGameState(MUSIC); break;
        default: setDisplayNumber(3); audio_button_3(); break;
      }
    break;
    case BUTTON4_Pin:
      switch (g_state) {
        case START_GAME: g_level = NORMAL; setGameState(PLAYING); break;
        case PLAYING: g_buttonRecord[3] = 1; g_newRecordUpdate = 1; break;
        case GAME_OVER: g_target_music = BAD_APPLE; audio_button_4(); setGameState(MUSIC); break;
        default: setDisplayNumber(4); audio_button_4(); break;
      }
    break;
    case BUTTON5_Pin:
      switch (g_state) {
        case PLAYING: g_buttonRecord[4] = 1; g_newRecordUpdate = 1; break;
        case GAME_OVER: g_target_music = SUPER_MARIO; audio_button_5(); setGameState(MUSIC); break;
        default: setDisplayNumber(5); audio_button_5(); break;
      }
    break;
    case BUTTON6_Pin:
      switch (g_state) {
        case START_GAME: g_level = HARD; setGameState(PLAYING); break;
        case PLAYING: g_buttonRecord[5] = 1; g_newRecordUpdate = 1; break;
        case GAME_OVER: g_target_music = BOBOMB_BATTLEFIELD; audio_button_6(); setGameState(MUSIC); break;
        default: setDisplayNumber(6); audio_button_6(); break;
      }
    break;
    case BUTTON7_Pin:
      switch (g_state) {
        case PLAYING: g_buttonRecord[6] = 1; g_newRecordUpdate = 1; break;
        case GAME_OVER: g_target_music = PRINCESS_SLIDE; audio_button_7(); setGameState(MUSIC); break;
        default: setDisplayNumber(7); audio_button_7(); break;
      }
    break;

    default:
    break;
  }

  /* Make sure to clear all button noise before exit */
  __HAL_GPIO_EXTI_CLEAR_IT(ACT_BUTTON_Pin);
  __HAL_GPIO_EXTI_CLEAR_IT(BUTTON1_Pin);
  __HAL_GPIO_EXTI_CLEAR_IT(BUTTON2_Pin);
  __HAL_GPIO_EXTI_CLEAR_IT(BUTTON3_Pin);
  __HAL_GPIO_EXTI_CLEAR_IT(BUTTON4_Pin);
  __HAL_GPIO_EXTI_CLEAR_IT(BUTTON5_Pin);
  __HAL_GPIO_EXTI_CLEAR_IT(BUTTON6_Pin);
  __HAL_GPIO_EXTI_CLEAR_IT(BUTTON7_Pin);
}
/* USER CODE END 4 */

void Error_Handler(void)
{
}

/************************ (C) COPYRIGHT STMicroelectronics *****END OF FILE****/
